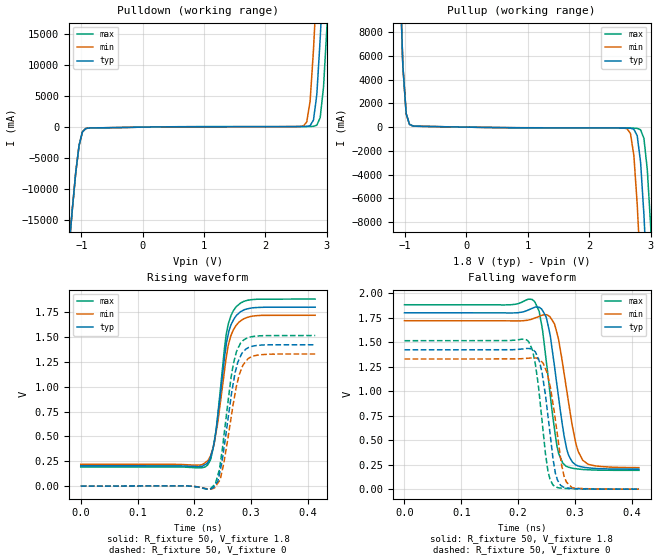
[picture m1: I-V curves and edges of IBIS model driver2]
| IBIS file invchain_stage4_tr200ps.ibs created by PYS2IBIS3
| Missouri S&T EMC Lab
[IBIS Ver] 7.1
[File Name] invchain_stage4_tr200ps.ibs
[File Rev] 1.0
[Date] Jul 27, 2026
[Source] inv_chain variant 'stage4' -- four stages, same final drive
[Notes] Parameter selection; sim_time=4.129e-10, tr=tf=2.000e-10.
[Component] invchain
[Manufacturer] s2ibispy study
[Package]
| variable   typ   min   max
R_pkg 0 NA NA
L_pkg 0H NA NA
C_pkg 0F NA NA
[Pin]  signal_name   model_name   R_pin   L_pin   C_pin
VSSQ   VSSQ   Gnd
VCCQ   VCCQ   Power
| IN IN dummy
PAD   PAD   driver2
| End of Component
| Models and submodels in the file (1): driver2 (Output)
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[Model] driver2
Model_type Output
Polarity Non-Inverting
Enable Active-High
Vinl  = 0.8V
Vinh  = 2V
C_comp 0.4680pF NA NA
[Temperature Range] 27.0000 27.0000 27.0000
[Voltage Range] 1.8000V 1.7000V 1.9000V
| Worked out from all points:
|   slope of the pulldown table from 0 to 0.27 V, typ, clamps not added: 6.79 ohm
|   slope of the pullup table from 0 to 0.27 V, typ, clamps not added: 12.6 ohm
|   rising waveform, R_fixture 50, V_fixture 1.8: 20-80 % time 20.6ps typ, 22.1ps min, 19.2ps max; typ from 0.204 V to 1.8 V
|   rising waveform, R_fixture 50, V_fixture 0: 20-80 % time 22ps typ, 23.6ps min, 20.5ps max; typ from 0 V to 1.42 V
|   falling waveform, R_fixture 50, V_fixture 1.8: 20-80 % time 23.1ps typ, 25.3ps min, 21.3ps max; typ from 1.8 V to 0.204 V
|   falling waveform, R_fixture 50, V_fixture 0: 20-80 % time 18.7ps typ, 19.9ps min, 17.6ps max; typ from 1.42 V to 0 V
[Pulldown]
| Voltage   I(typ)   I(min)   I(max)
-1.8V     -87.88A    -87.88A    -87.88A
-1.2V     -19.4A     -19.4A     -19.4A
-1.036V   -2.952A    -2.948A    -2.955A
-927.3mV  -221.8mA   -216.4mA   -227mA
2.618V    95.77mA    193.1mA    97.15mA
2.727V    244.8mA    4.224A     106.4mA
2.782V    1.151A     12.49A     132.5mA
2.836V    5.27A      23.04A     313.7mA
2.891V    14.25A     33.59A     1.533A
2.946V    24.81A     44.15A     6.464A
3V        35.36A     54.71A     16.02A
3.6V      151.5A     170.8A     132.1A
[Pullup]
| Voltage   I(typ)   I(min)   I(max)
-1.8V     151.4A     151.4A     151.4A
-1.091V   14.2A      14.19A     14.2A
-981.8mV  1.13A      1.129A     1.132A
-872.7mV  99.18mA    97.54mA    100.6mA
2.618V    -78.19mA   -142.5mA   -79.21mA
2.727V    -177.2mA   -2.408A    -86.52mA
2.782V    -728.3mA   -6.523A    -104.6mA
2.836V    -2.952A    -12.18A    -222.3mA
2.891V    -7.391A    -18.4A     -950.7mA
2.946V    -13.22A    -24.62A    -3.561A
3V        -19.44A    -30.85A    -8.297A
3.6V      -87.92A    -99.33A    -76.52A
[Ramp]
| variable   typ   min   max
dV/dt_r 0.8532/0.02198n 0.7974/0.02356n 0.9090/0.02057n
dV/dt_f 0.9575/0.02303n 0.8970/0.02474n 1.0172/0.02153n
R_load = 50
[Rising Waveform]
R_fixture = 50
V_fixture = 1.8
|time   V(typ)   V(min)   V(max)
0s        204.2mV    219.5mV    192.2mV
219.5ps   217.1mV    235.7mV    193.4mV
229ps     299.6mV    309.5mV    270.3mV
235.2ps   448.9mV    435.9mV    428.4mV
241.4ps   694.2mV    640.3mV    714.5mV
256.2ps   1.428V     1.29V      1.528V
259.5ps   1.522V     1.409V     1.621V
268.6ps   1.67V      1.57V      1.763V
301.3ps   1.793V     1.71V      1.877V
412.9ps   1.8V       1.719V     1.882V
[Rising Waveform]
R_fixture = 50
V_fixture = 0
|time   V(typ)   V(min)   V(max)
0s        13.08nV    12.76nV    13.48nV
229ps     -27.11mV   -30.77mV   -23.85mV
237.2ps   14.13mV    -6.087mV   23.23mV
245.5ps   149.8mV    63.18mV    214.8mV
253.8ps   438mV      286.9mV    576.2mV
268.6ps   1.033V     828.4mV    1.224V
281.4ps   1.307V     1.156V     1.438V
294.7ps   1.391V     1.282V     1.493V
307.9ps   1.413V     1.315V     1.509V
412.9ps   1.422V     1.329V     1.515V
[Falling Waveform]
R_fixture = 50
V_fixture = 1.8
|time   V(typ)   V(min)   V(max)
0s        1.8V       1.719V     1.882V
225.2ps   1.847V     1.737V     1.935V
237.2ps   1.857V     1.764V     1.814V
250.5ps   1.737V     1.78V      1.277V
267.8ps   1.095V     1.61V      464.8mV
279ps     623.5mV    1.262V     264.3mV
289.7ps   338.2mV    855.5mV    222.5mV
302.9ps   244mV      443.1mV    207.1mV
313.7ps   225.3mV    297.3mV    200.7mV
412.9ps   204.2mV    219.8mV    192.1mV
[Falling Waveform]
R_fixture = 50
V_fixture = 0
|time   V(typ)   V(min)   V(max)
0s        1.422V     1.328V     1.515V
214.5ps   1.435V     1.335V     1.525V
225.7ps   1.426V     1.34V      1.413V
238.1ps   1.296V     1.323V     935.8mV
252.5ps   756.7mV    1.155V     187.5mV
261.2ps   325mV      892mV      45.11mV
268.6ps   108.3mV    583.8mV    18.2mV
276.5ps   32.73mV    254.9mV    9.923mV
287.6ps   11.12mV    58.45mV    5.79mV
412.9ps   -4.158uV   15.31uV    -8.691uV
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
